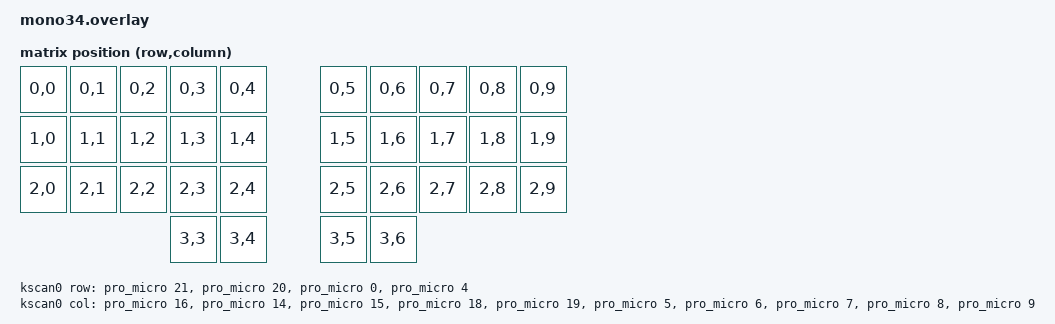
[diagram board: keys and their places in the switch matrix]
/*
 * mono34 - 34 key wireless unibody, Sweep-style layout, single nice!nano v2.
 *
 * Matches the PCB `mono34_unibody_inserts` in ergogen/config.yaml: the
 * nice!nano sits on the back of the PCB, components facing the base, and the
 * matrix nets there are named after the Pro Micro pins (P16 == &pro_micro 16).
 *
 * SPDX-License-Identifier: MIT
 */

#include <dt-bindings/zmk/matrix_transform.h>

#include "mono34-layouts.dtsi"

&mono34_layout {
    transform = <&default_transform>;
};

/*
 * D16 (P0.10) drives the left pinky column, and D16/D10 are the nRF52840's
 * NFC pins. ZMK's nice_nano board does not hand them over as GPIOs, so the
 * shield does (since Zephyr 4.1 this is a UICR devicetree property; it
 * replaced CONFIG_NFCT_PINS_AS_GPIOS).
 */
&uicr {
    nfct-pins-as-gpios;
};

/ {
    chosen {
        zmk,kscan = &kscan0;
        zmk,physical-layout = &mono34_layout;
        // NOTE: deliberately no `zmk,matrix-transform` here. The transform is
        // attached to the physical layout above instead, which is the current
        // ZMK convention for shields that declare a physical layout.
    };

    /*
     * 34 keys on a 4x10 matrix. The three alpha rows use all ten columns;
     * the four thumb keys are on row 3 and share the index and inner
     * columns of each half (columns 3..6).
     *
     *  SW1  SW2  SW3  SW4  SW5    SW6  SW7  SW8  SW9  SW10
     *  SW11 SW12 SW13 SW14 SW15   SW16 SW17 SW18 SW19 SW20
     *  SW21 SW22 SW23 SW24 SW25   SW26 SW27 SW28 SW29 SW30
     *                 SW31 SW32   SW33 SW34
     */
    default_transform: keymap_transform_0 {
        compatible = "zmk,matrix-transform";
        columns = <10>;
        rows = <4>;
        map = <
            RC(0,0) RC(0,1) RC(0,2) RC(0,3) RC(0,4)   RC(0,5) RC(0,6) RC(0,7) RC(0,8) RC(0,9)
            RC(1,0) RC(1,1) RC(1,2) RC(1,3) RC(1,4)   RC(1,5) RC(1,6) RC(1,7) RC(1,8) RC(1,9)
            RC(2,0) RC(2,1) RC(2,2) RC(2,3) RC(2,4)   RC(2,5) RC(2,6) RC(2,7) RC(2,8) RC(2,9)
                                    RC(3,3) RC(3,4)   RC(3,5) RC(3,6)
        >;
    };

    /*
     * col2row: the columns are driven (outputs) and the rows are read
     * (inputs with pull-downs). On the PCB every diode's cathode (pad 1) is
     * on the row net.
     *
     * Columns, physically left to right (ergogen column_net):
     *   left  pinky P16, ring P14, middle P15, index P18, inner P19
     *   right inner P5,  index P6, middle P7,  ring P8,   pinky P9
     * Rows: top P21, home P20, bottom P0, thumbs P4.
     * Thumbs, left to right: left tucky (index col, P18), left reachy (inner
     * col, P19), right reachy (P5), right tucky (P6) -> RC(3,3)..RC(3,6).
     *
     * Free for later: D1, D2, D3 (a nice!view), D10, and the nice!nano's
     * extra pins P1.01, P1.02, P1.07 (wired to pads on the PCB).
     */
    kscan0: kscan {
        compatible = "zmk,kscan-gpio-matrix";
        wakeup-source;
        diode-direction = "col2row";

        col-gpios
            = <&pro_micro 16 GPIO_ACTIVE_HIGH>
            , <&pro_micro 14 GPIO_ACTIVE_HIGH>
            , <&pro_micro 15 GPIO_ACTIVE_HIGH>
            , <&pro_micro 18 GPIO_ACTIVE_HIGH>
            , <&pro_micro 19 GPIO_ACTIVE_HIGH>
            , <&pro_micro 5 GPIO_ACTIVE_HIGH>
            , <&pro_micro 6 GPIO_ACTIVE_HIGH>
            , <&pro_micro 7 GPIO_ACTIVE_HIGH>
            , <&pro_micro 8 GPIO_ACTIVE_HIGH>
            , <&pro_micro 9 GPIO_ACTIVE_HIGH>
            ;

        row-gpios
            = <&pro_micro 21 (GPIO_ACTIVE_HIGH | GPIO_PULL_DOWN)>
            , <&pro_micro 20 (GPIO_ACTIVE_HIGH | GPIO_PULL_DOWN)>
            , <&pro_micro 0 (GPIO_ACTIVE_HIGH | GPIO_PULL_DOWN)>
            , <&pro_micro 4 (GPIO_ACTIVE_HIGH | GPIO_PULL_DOWN)>
            ;
    };
};
